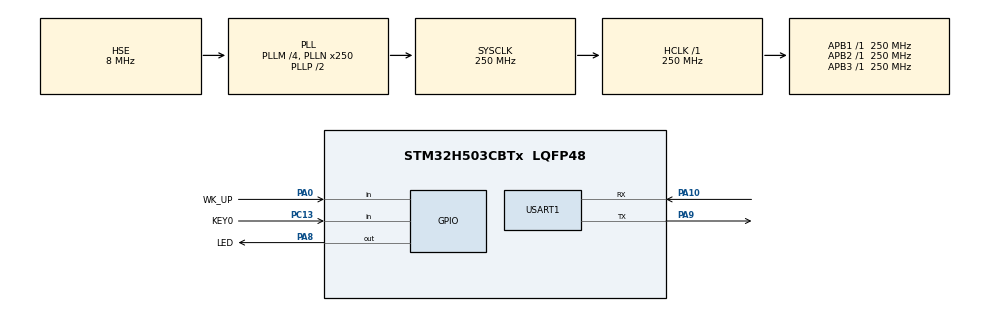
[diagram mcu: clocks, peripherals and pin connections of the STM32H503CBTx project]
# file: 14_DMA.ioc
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BOOTPATH.BootPathName=LEGACY
BOOTPATH.UserSelectedBootPath=LEGACY
GPDMA1.DIRECTION_GPDMACH2=DMA_MEMORY_TO_PERIPH
GPDMA1.IPHANDLE_GPDMACH2-SIMPLEREQUEST_GPDMACH2=__NULL
GPDMA1.PRIORITY_GPDMACH2=DMA_LOW_PRIORITY_HIGH_WEIGHT
GPDMA1.REQUEST_GPDMACH2=GPDMA1_REQUEST_USART1_TX
GPDMA1.SRCINC_GPDMACH2=DMA_SINC_INCREMENTED
Mcu.Family=STM32H5
Mcu.Name=STM32H503CBTx
Mcu.Package=LQFP48
NVIC.GPDMA1_Channel2_IRQn=true\:0\:0\:true\:false\:true\:false\:true\:true
NVIC.PriorityGroup=NVIC_PRIORITYGROUP_2
NVIC.USART1_IRQn=true\:2\:2\:true\:false\:true\:true\:true\:true
PA0.GPIO_Label=WK_UP
PA0.GPIO_PuPd=GPIO_PULLDOWN
PA0.Signal=GPIO_Input
PA10.GPIO_ModeDefaultPP=GPIO_MODE_AF_PP
PA10.GPIO_Speed=GPIO_SPEED_FREQ_LOW
PA10.Mode=Asynchronous
PA10.Signal=USART1_RX
PA8.GPIO_Label=LED
PA8.GPIO_ModeDefaultOutputPP=GPIO_MODE_OUTPUT_PP
PA8.GPIO_PuPd=GPIO_PULLUP
PA8.PinState=GPIO_PIN_SET
PA8.Signal=GPIO_Output
PA9.GPIO_Speed=GPIO_SPEED_FREQ_HIGH
PA9.Mode=Asynchronous
PA9.Signal=USART1_TX
PC13.GPIO_Label=KEY0
PC13.GPIO_PuPd=GPIO_PULLDOWN
PC13.Signal=GPIO_Input
PC14-OSC32_IN(OSC32_IN).Mode=LSE-External-Oscillator
PC14-OSC32_IN(OSC32_IN).Signal=RCC_OSC32_IN
PC15-OSC32_OUT(OSC32_OUT).Mode=LSE-External-Oscillator
PC15-OSC32_OUT(OSC32_OUT).Signal=RCC_OSC32_OUT
PH0-OSC_IN(PH0).Mode=HSE-External-Oscillator
PH0-OSC_IN(PH0).Signal=RCC_OSC_IN
PH1-OSC_OUT(PH1).Mode=HSE-External-Oscillator
PH1-OSC_OUT(PH1).Signal=RCC_OSC_OUT
ProjectManager.HeapSize=0x200
ProjectManager.StackSize=0x400
ProjectManager.TargetToolchain=STM32CubeIDE
RCC.ADCFreq_Value=250000000
RCC.AHBFreq_Value=250000000
RCC.APB1Freq_Value=250000000
RCC.APB1TimFreq_Value=250000000
RCC.APB2Freq_Value=250000000
RCC.APB2TimFreq_Value=250000000
RCC.APB3Freq_Value=250000000
RCC.CSI_VALUE=4000000
RCC.CortexFreq_Value=250000000
RCC.EPOD_VALUE=8000000
RCC.HCLKFreq_Value=250000000
RCC.HSE_VALUE=8000000
RCC.HSI48_VALUE=48000000
RCC.HSI_VALUE=64000000
RCC.LSIRC_VALUE=32000
RCC.PLLM=4
RCC.PLLN=250
RCC.PLLSourceVirtual=RCC_PLL1_SOURCE_HSE
RCC.SYSCLKFreq_VALUE=250000000
RCC.SYSCLKSource=RCC_SYSCLKSOURCE_PLLCLK
RCC.USBFreq_Value=48000000
RCC.VCOOutputFreq_Value=500000000
USART1.VirtualMode=VM_ASYNC
VP_BOOTPATH_VS_BOOTPATH.Mode=BP_Activate
VP_GPDMA1_VS_GPDMACH2.Mode=SIMPLEREQUEST_GPDMACH2
VP_ICACHE_VS_ICACHE.Mode=DefaultMode
VP_MEMORYMAP_VS_MEMORYMAP.Mode=CurAppReg
VP_PWR_VS_DBSignals.Mode=DisableDeadBatterySignals
VP_PWR_VS_LPOM.Mode=PowerOptimisation
VP_PWR_VS_SECSignals.Mode=Security/Privilege
board=custom

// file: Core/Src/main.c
/**
 ****************************************************************************************************
 * @file        main.c
 * @author      ALIENTEK
 * @brief       DMA code
 * @license     Copyright (C) 2012-2024, ALIENTEK
 ****************************************************************************************************
 * @attention
 *
 * platform     : ALIENTEK M48-STM32H503 board
 * website      : www.alientek.com
 * forum        : www.openedv.com/forum.php
 *
 * change logs  ：
 * version      data         notes
 * V1.0         20240309     the first version
 *
 ****************************************************************************************************
 */

/* USER CODE BEGIN Header */

/* USER CODE END Header */
#include "main.h"
#include "gpdma.h"
#include "icache.h"
#include "memorymap.h"
#include "usart.h"
#include "gpio.h"

/* USER CODE BEGIN Includes */
#include "../../BSP/LED/led.h"
#include "../../BSP/KEY/key.h"
/* USER CODE END Includes */

/* USER CODE BEGIN PTD */
const uint8_t g_text_to_send[] = {"ALIENTEK STM32H503CBT6 DMA code\r\n"};  /* The string to send in a loop */

#define SEND_BUF_SIZE (sizeof(g_text_to_send)  * 200)                      /* Length of data sent */

static uint8_t g_sendbuf[SEND_BUF_SIZE];
/* USER CODE END PTD */

/* USER CODE BEGIN PV */
extern uint8_t g_uart_tx_completed;
extern DMA_HandleTypeDef handle_GPDMA1_Channel2;
/* USER CODE END PV */

void SystemClock_Config(void);

/* USER CODE BEGIN 0 */
/**
 * @brief   Displays information about the experiment
 * @param   None
 * @retval  None
 */
void stm32h503cb_show_mesg(void)
{
	/* The serial port outputs the experimental information */
	printf("\n");
	printf("********************************\r\n");
	printf("STM32H503\r\n");
	printf("DMA Test\r\n");
	printf("ATOM@ALIENTEK\r\n");
	printf("KEY0:Start Transimit\r\n");
	printf("********************************\r\n");
	printf("\r\n");
}
/* USER CODE END 0 */

int main(void)
{
  /* USER CODE BEGIN 1 */
	uint8_t  key = 0;
	uint16_t i, j;
	uint8_t len;
	uint16_t pro = 0;      /* Schedule */
  /* USER CODE END 1 */

  /* MCU Configuration--------------------------------------------------------*/

  /* Reset of all peripherals, Initializes the Flash interface and the Systick. */
  HAL_Init();

  /* Configure the system clock */
  SystemClock_Config();

  /* Initialize all configured peripherals */
  MX_GPIO_Init();
  MX_GPDMA1_Init();
  MX_ICACHE_Init();
  MX_USART1_UART_Init();
  /* USER CODE BEGIN 2 */
  stm32h503cb_show_mesg();
  len = sizeof(g_text_to_send);   /* Fill the send data buffer */

  for (j = 0; j < SEND_BUF_SIZE; j++)
  {
     g_sendbuf[j] = g_text_to_send[j % len];
  }

  j = 0;

  /* USER CODE END 2 */

  /* Infinite loop */
  /* USER CODE BEGIN WHILE */
  while (1)
  {
	  key = key_scan(0);

	  if (key == KEY0_PRES)
	  {
	      printf("Start Transimit....\r\n");
	      printf( "\r\n");

	      HAL_UART_Transmit_DMA(&huart1, (uint8_t *)g_sendbuf, SEND_BUF_SIZE);

	      /* Wait for the DMA transfer to complete
	       * In practice, you can perform additional tasks while waiting for the DMA transfer to complete.
	       */
	      while (1)
	      {
	    	  if (g_uart_tx_completed == 1)  /* Wait for the serial port to finish sending data */
	    	  {
	    	      g_uart_tx_completed = 0;   /* Clear the serial port to send data completion flag */
	    	      break;
	    	  }

	           pro = __HAL_DMA_GET_COUNTER(&handle_GPDMA1_Channel2); /* Get how many pieces of data are left */
	           pro = ((SEND_BUF_SIZE - pro) * 100) / SEND_BUF_SIZE;  /* Percentage gain */
	           printf( "\r\n");
	           printf("Schedule:%d\r\n", pro);
	      }

	      printf("Transimit Finished!\r\n");
	  }

	  i++;
	  HAL_Delay(10);   	/* delay 10ms */

	  if ((i % 20) == 0)
	  {
		  i = 0;
		  LED_TOGGLE();
	  }

    /* USER CODE END WHILE */

  }
}

void SystemClock_Config(void)
{
  RCC_OscInitTypeDef RCC_OscInitStruct = {0};
  RCC_ClkInitTypeDef RCC_ClkInitStruct = {0};

  /** Configure the main internal regulator output voltage
  */
  __HAL_PWR_VOLTAGESCALING_CONFIG(PWR_REGULATOR_VOLTAGE_SCALE0);

  while(!__HAL_PWR_GET_FLAG(PWR_FLAG_VOSRDY)) {}

  /** Initializes the RCC Oscillators according to the specified parameters
  * in the RCC_OscInitTypeDef structure.
  */
  RCC_OscInitStruct.OscillatorType = RCC_OSCILLATORTYPE_HSE;
  RCC_OscInitStruct.HSEState = RCC_HSE_ON;
  RCC_OscInitStruct.PLL.PLLState = RCC_PLL_ON;
  RCC_OscInitStruct.PLL.PLLSource = RCC_PLL1_SOURCE_HSE;
  RCC_OscInitStruct.PLL.PLLM = 4;
  RCC_OscInitStruct.PLL.PLLN = 250;
  RCC_OscInitStruct.PLL.PLLP = 2;
  RCC_OscInitStruct.PLL.PLLQ = 2;
  RCC_OscInitStruct.PLL.PLLR = 2;
  RCC_OscInitStruct.PLL.PLLRGE = RCC_PLL1_VCIRANGE_1;
  RCC_OscInitStruct.PLL.PLLVCOSEL = RCC_PLL1_VCORANGE_WIDE;
  RCC_OscInitStruct.PLL.PLLFRACN = 0;
  if (HAL_RCC_OscConfig(&RCC_OscInitStruct) != HAL_OK)
  {
    Error_Handler();
  }

  /** Initializes the CPU, AHB and APB buses clocks
  */
  RCC_ClkInitStruct.ClockType = RCC_CLOCKTYPE_HCLK|RCC_CLOCKTYPE_SYSCLK
                              |RCC_CLOCKTYPE_PCLK1|RCC_CLOCKTYPE_PCLK2
                              |RCC_CLOCKTYPE_PCLK3;
  RCC_ClkInitStruct.SYSCLKSource = RCC_SYSCLKSOURCE_PLLCLK;
  RCC_ClkInitStruct.AHBCLKDivider = RCC_SYSCLK_DIV1;
  RCC_ClkInitStruct.APB1CLKDivider = RCC_HCLK_DIV1;
  RCC_ClkInitStruct.APB2CLKDivider = RCC_HCLK_DIV1;
  RCC_ClkInitStruct.APB3CLKDivider = RCC_HCLK_DIV1;

  if (HAL_RCC_ClockConfig(&RCC_ClkInitStruct, FLASH_LATENCY_5) != HAL_OK)
  {
    Error_Handler();
  }
}

void Error_Handler(void)
{
  __disable_irq();
  while (1)
  {
  }
}
